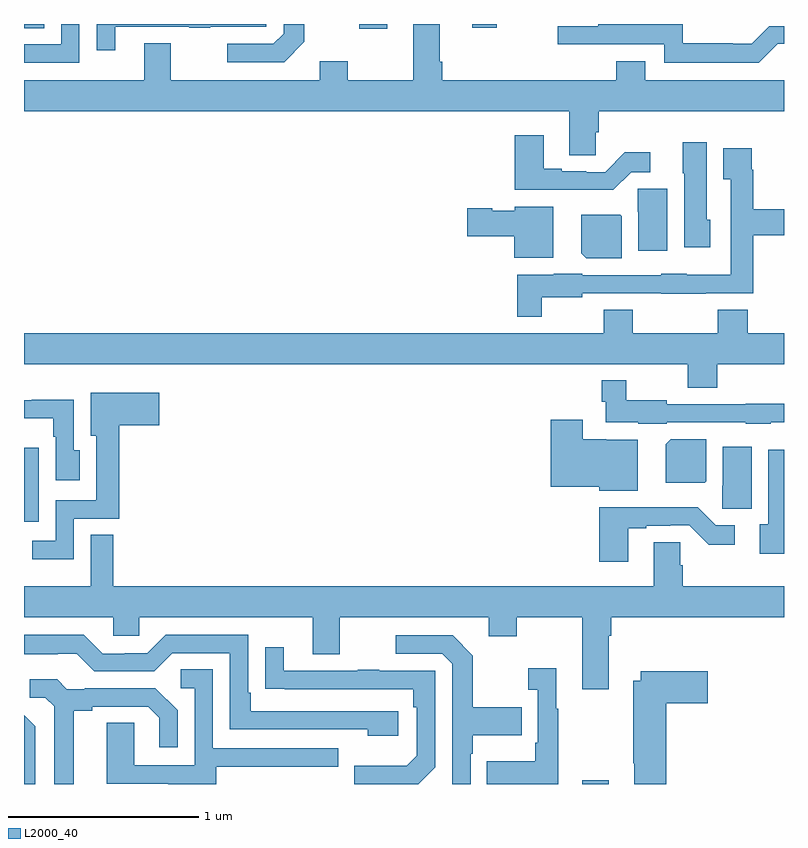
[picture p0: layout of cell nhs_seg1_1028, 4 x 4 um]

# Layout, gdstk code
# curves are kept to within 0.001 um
import gdstk
lib = gdstk.Library(unit=1e-6, precision=1e-09)
def R(c, l, rs):  # rectangles x0, y0, x1, y1
    for r in rs: c.add(gdstk.rectangle(r[:2], r[2:], *l))
def P(c, l, *ps):  # polygons
    for p in ps: c.add(gdstk.Polygon(p, *l))
L2000_40 = (2000, 40)

nhs_seg1_1028 = lib.new_cell('nhs_seg1_1028')
R(nhs_seg1_1028, L2000_40, [(169.937,540.199,170.077,540.22), (167,541.58,167.077,541.969), (168.765,544.173,168.913,544.199), (167,544.177,167.106,544.199), (169.358,544.179,169.488,544.199)])
P(nhs_seg1_1028, L2000_40, [(167.479,544.185),(167.869,544.185),(167.869,544.18),(167.981,544.18),(167.981,544.185),(168.276,544.185),(168.276,544.199),(167.383,544.199),(167.383,544.062),(167.479,544.062)],
  [(167.292,544.199),(167.196,544.199),(167.196,544.092),(167,544.092),(167,543.996),(167.292,543.996)],
  [(168.475,544.105),(168.475,544.199),(168.366,544.199),(168.366,544.149),(168.312,544.095),(168.069,544.095),(168.069,543.999),(168.369,543.999)],
  [(170.967,544.095),(171,544.095),(171,544.188),(170.922,544.188),(170.829,544.095),(170.729,544.095),(170.729,544.099),(170.466,544.099),(170.466,544.199),(170.022,544.199),(170.022,544.188),(169.809,544.188),(169.809,544.092),(170.37,544.092),(170.37,543.995),(170.867,543.995)],
  [(169.189,544),(169.189,544.199),(169.049,544.199),(169.049,543.904),(168.705,543.904),(168.705,544.003),(168.557,544.003),(168.557,543.904),(167.773,543.904),(167.773,544.099),(167.633,544.099),(167.633,543.904),(167,543.904),(167,543.74),(169.871,543.74),(169.871,543.508),(170.01,543.508),(170.01,543.63),(170.024,543.63),(170.024,543.74),(171,543.74),(171,543.904),(170.269,543.904),(170.269,544.003),(170.117,544.003),(170.117,543.904),(169.202,543.904),(169.202,544)],
  [(170.196,543.42),(170.296,543.42),(170.296,543.523),(170.161,543.523),(170.058,543.42),(169.958,543.42),(169.958,543.423),(169.831,543.423),(169.831,543.436),(169.735,543.436),(169.735,543.613),(169.583,543.613),(169.583,543.326),(170.101,543.326)],
  [(170.611,543.168),(170.593,543.168),(170.593,543.577),(170.468,543.577),(170.468,543.414),(170.474,543.414),(170.474,543.024),(170.611,543.024)],
  [(169.726,542.762),(169.938,542.762),(169.938,542.781),(170.355,542.781),(170.355,542.78),(170.587,542.78),(170.587,542.781),(170.837,542.781),(170.837,543.088),(171,543.088),(171,543.224),(170.837,543.224),(170.837,543.431),(170.83,543.431),(170.83,543.544),(170.681,543.544),(170.681,543.383),(170.721,543.383),(170.721,542.878),(170.487,542.878),(170.487,542.884),(170.355,542.884),(170.355,542.877),(169.938,542.877),(169.938,542.884),(169.788,542.884),(169.788,542.878),(169.597,542.878),(169.597,542.657),(169.726,542.657)],
  [(170.386,543.333),(170.23,543.333),(170.23,543.21),(170.234,543.21),(170.234,543.006),(170.386,543.006)],
  [(169.786,543.238),(169.584,543.238),(169.584,543.217),(169.464,543.217),(169.464,543.23),(169.332,543.23),(169.332,543.083),(169.58,543.083),(169.58,542.969),(169.786,542.969)],
  [(170.146,543.188),(170.138,543.196),(169.934,543.196),(169.934,542.992),(169.96,542.966),(170.146,542.966)],
  [(170.649,542.408),(171,542.408),(171,542.572),(170.81,542.572),(170.81,542.696),(170.65,542.696),(170.65,542.572),(170.205,542.572),(170.205,542.696),(170.05,542.696),(170.05,542.572),(167,542.572),(167,542.408),(170.494,542.408),(170.494,542.284),(170.649,542.284)],
  [(170.382,542.103),(170.799,542.103),(170.799,542.096),(170.931,542.096),(170.931,542.102),(171,542.102),(171,542.201),(170.799,542.201),(170.799,542.199),(170.382,542.199),(170.382,542.218),(170.17,542.218),(170.17,542.323),(170.041,542.323),(170.041,542.21),(170.061,542.21),(170.061,542.102),(170.232,542.102),(170.232,542.096),(170.382,542.096)],
  [(167.262,541.596),(167.5,541.596),(167.5,542.087),(167.713,542.087),(167.713,542.257),(167.351,542.257),(167.351,542.033),(167.381,542.033),(167.381,541.692),(167.166,541.692),(167.166,541.479),(167.043,541.479),(167.043,541.382),(167.262,541.382)],
  [(167.293,541.956),(167.262,541.956),(167.262,542.222),(167.041,542.222),(167.041,542.22),(167,542.22),(167,542.123),(167.154,542.123),(167.154,542.027),(167.166,542.027),(167.166,541.797),(167.293,541.797)],
  [(170.23,542.012),(170.064,542.012),(170.064,542.014),(169.942,542.014),(169.942,542.116),(169.772,542.116),(169.772,541.763),(170.028,541.763),(170.028,541.742),(170.23,541.742)],
  [(170.59,541.792),(170.59,542.014),(170.404,542.014),(170.378,541.988),(170.378,541.784),(170.582,541.784)],
  [(170.83,541.975),(170.678,541.975),(170.678,541.77),(170.674,541.77),(170.674,541.647),(170.83,541.647)],
  [(171,541.957),(170.918,541.957),(170.918,541.566),(170.873,541.566),(170.873,541.412),(171,541.412)],
  [(170.179,541.545),(170.275,541.545),(170.275,541.557),(170.402,541.557),(170.402,541.56),(170.502,541.56),(170.605,541.458),(170.74,541.458),(170.74,541.56),(170.64,541.56),(170.545,541.655),(170.027,541.655),(170.027,541.368),(170.179,541.368)],
  [(167.47,541.511),(167.351,541.511),(167.351,541.24),(167,541.24),(167,541.076),(167.469,541.076),(167.469,540.978),(167.607,540.978),(167.607,541.076),(168.521,541.076),(168.521,540.882),(168.661,540.882),(168.661,541.076),(169.445,541.076),(169.445,540.977),(169.593,540.977),(169.593,541.076),(169.937,541.076),(169.937,540.699),(170.077,540.699),(170.077,540.98),(170.09,540.98),(170.09,541.076),(171,541.076),(171,541.24),(170.468,541.24),(170.468,541.35),(170.454,541.35),(170.454,541.472),(170.315,541.472),(170.315,541.24),(167.47,541.24)],
  [(168.97,540.582),(168.193,540.582),(168.193,540.679),(168.18,540.679),(168.18,540.984),(167.745,540.984),(167.649,540.888),(167.531,540.888),(167.531,540.885),(167.415,540.885),(167.315,540.985),(167,540.985),(167,540.881),(167.177,540.881),(167.177,540.885),(167.277,540.885),(167.37,540.792),(167.685,540.792),(167.781,540.888),(168.084,540.888),(168.084,540.486),(168.809,540.486),(168.809,540.452),(168.97,540.452)],
  [(169.35,540.359),(169.363,540.359),(169.363,540.455),(169.619,540.455),(169.619,540.603),(169.363,540.603),(169.363,540.875),(169.257,540.981),(168.957,540.981),(168.957,540.885),(169.2,540.885),(169.254,540.831),(169.254,540.199),(169.35,540.199)],
  [(169.164,540.288),(169.164,540.795),(168.869,540.795),(168.869,540.8),(168.757,540.8),(168.757,540.795),(168.367,540.795),(168.367,540.919),(168.271,540.919),(168.271,540.7),(169.048,540.699),(169.048,540.602),(169.068,540.602),(169.068,540.348),(169.015,540.295),(168.738,540.295),(168.738,540.199),(169.075,540.199)],
  [(169.813,540.595),(169.801,540.595),(169.801,540.808),(169.653,540.808),(169.653,540.695),(169.704,540.695),(169.704,540.415),(169.692,540.415),(169.692,540.319),(169.435,540.319),(169.435,540.199),(169.813,540.199)],
  [(168.013,540.291),(168.653,540.291),(168.653,540.387),(167.994,540.387),(167.994,540.803),(167.826,540.803),(167.826,540.702),(167.898,540.702),(167.898,540.297),(167.58,540.297),(167.58,540.521),(167.435,540.521),(167.435,540.201),(167.759,540.201),(167.759,540.199),(168.013,540.199)],
  [(170.381,540.623),(170.599,540.623),(170.599,540.793),(170.246,540.793),(170.246,540.742),(170.206,540.742),(170.206,540.307),(170.213,540.307),(170.213,540.199),(170.381,540.199)],
  [(167.263,540.584),(167.359,540.584),(167.359,540.606),(167.654,540.606),(167.711,540.549),(167.711,540.393),(167.808,540.393),(167.808,540.586),(167.692,540.702),(167.32,540.702),(167.32,540.699),(167.226,540.699),(167.174,540.751),(167.031,540.751),(167.031,540.654),(167.112,540.654),(167.159,540.607),(167.159,540.199),(167.263,540.199)],
  [(167.058,540.502),(167,540.56),(167,540.199),(167.058,540.199)])

lib.write_gds('nhs_seg1_1028.gds')
